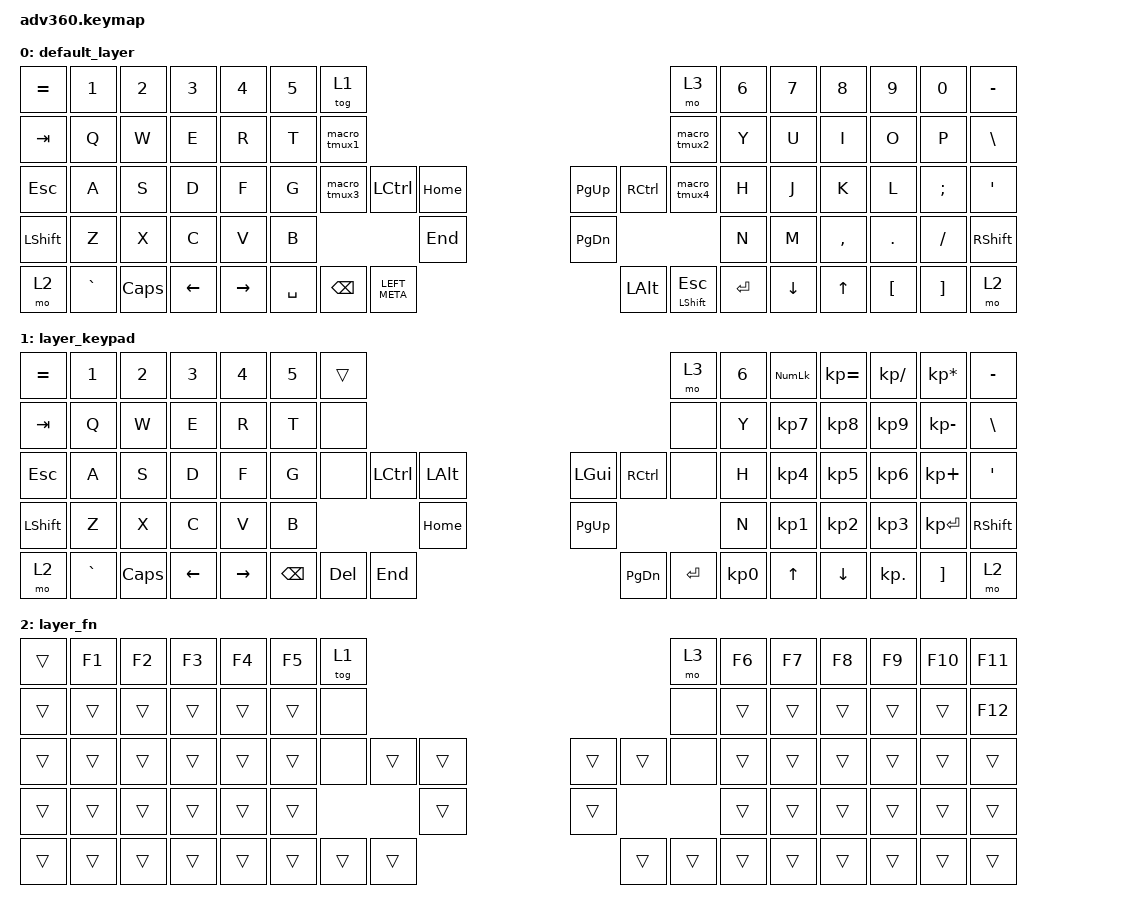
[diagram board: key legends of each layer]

/*
 * Copyright (c) 2020 The ZMK Contributors
 *
 * SPDX-License-Identifier: MIT
 */


/* THIS FILE WAS GENERATED!
 *
 * This file was generated automatically. You may or may not want to
 * edit it directly.
 */

#include <behaviors.dtsi>
#include <dt-bindings/zmk/keys.h>

/ {
  behaviors {
    #include "macros.dtsi"
    #include "version.dtsi"

    hm: homerow_mods {
        compatible = "zmk,behavior-hold-tap";
        label = "HOMEROW_MODS";
        #binding-cells = <2>;
        tapping-term-ms = <200>;
        quick_tap_ms = <175>;
        flavor = "tap-preferred";
        bindings = <&kp>, <&kp>;
    };
  };

    keymap {
        compatible = "zmk,keymap";


        default_layer {
            bindings = <
 &kp EQUAL     &kp N1    &kp N2    &kp N3     &kp N4  &kp N5                  &tog 1                                                                                         &mo 3  &kp N6    &kp N7     &kp N8    &kp N9    &kp N0  &kp MINUS
   &kp TAB      &kp Q     &kp W     &kp E      &kp R   &kp T            &macro_tmux1                                                                                  &macro_tmux2   &kp Y     &kp U      &kp I     &kp O     &kp P   &kp BSLH
   &kp ESC      &kp A     &kp S     &kp D      &kp F   &kp G            &macro_tmux3      &kp LCTRL       &kp HOME                   &kp PAGE_UP           &kp RCTRL  &macro_tmux4   &kp H     &kp J      &kp K     &kp L  &kp SEMI    &kp SQT
 &kp LSHFT      &kp Z     &kp X     &kp C      &kp V   &kp B                                               &kp END                     &kp PG_DN                                     &kp N     &kp M  &kp COMMA   &kp DOT  &kp FSLH  &kp RSHFT
     &mo 2  &kp GRAVE  &kp CAPS  &kp LEFT  &kp RIGHT                       &kp SPACE  &kp BACKSPACE  &kp LEFT_META                  &kp LEFT_ALT  &mt LEFT_SHIFT ESC     &kp ENTER          &kp DOWN     &kp UP  &kp LBKT  &kp RBKT      &mo 2
            >;
        };

        layer_keypad {
            bindings = <
 &kp EQUAL     &kp N1    &kp N2    &kp N3     &kp N4  &kp N5              &trans                                                                 &mo 3  &kp N6  &kp KP_NUM  &kp KP_EQUAL  &kp KP_DIVIDE  &kp KP_MULTIPLY  &kp MINUS
   &kp TAB      &kp Q     &kp W     &kp E      &kp R   &kp T               &none                                                                 &none   &kp Y   &kp KP_N7     &kp KP_N8      &kp KP_N9     &kp KP_MINUS   &kp BSLH
   &kp ESC      &kp A     &kp S     &kp D      &kp F   &kp G               &none  &kp LCTRL  &kp LALT                   &kp LGUI  &kp RCTRL      &none   &kp H   &kp KP_N4     &kp KP_N5      &kp KP_N6      &kp KP_PLUS    &kp SQT
 &kp LSHFT      &kp Z     &kp X     &kp C      &kp V   &kp B                                 &kp HOME                  &kp PG_UP                         &kp N   &kp KP_N1     &kp KP_N2      &kp KP_N3     &kp KP_ENTER  &kp RSHFT
     &mo 2  &kp GRAVE  &kp CAPS  &kp LEFT  &kp RIGHT                    &kp BSPC    &kp DEL   &kp END                  &kp PG_DN  &kp ENTER  &kp KP_N0              &kp UP      &kp DOWN     &kp KP_DOT         &kp RBKT      &mo 2
            >;
        };

        layer_fn {
            bindings = <
 &trans  &kp F1  &kp F2  &kp F3  &kp F4  &kp F5            &tog 1                                                   &mo 3  &kp F6  &kp F7  &kp F8  &kp F9  &kp F10  &kp F11
 &trans  &trans  &trans  &trans  &trans  &trans             &none                                                   &none  &trans  &trans  &trans  &trans   &trans  &kp F12
 &trans  &trans  &trans  &trans  &trans  &trans             &none  &trans  &trans                  &trans  &trans   &none  &trans  &trans  &trans  &trans   &trans   &trans
 &trans  &trans  &trans  &trans  &trans  &trans                            &trans                  &trans                  &trans  &trans  &trans  &trans   &trans   &trans
 &trans  &trans  &trans  &trans  &trans                    &trans  &trans  &trans                  &trans  &trans  &trans          &trans  &trans  &trans   &trans   &trans
            >;
        };

    };
};
